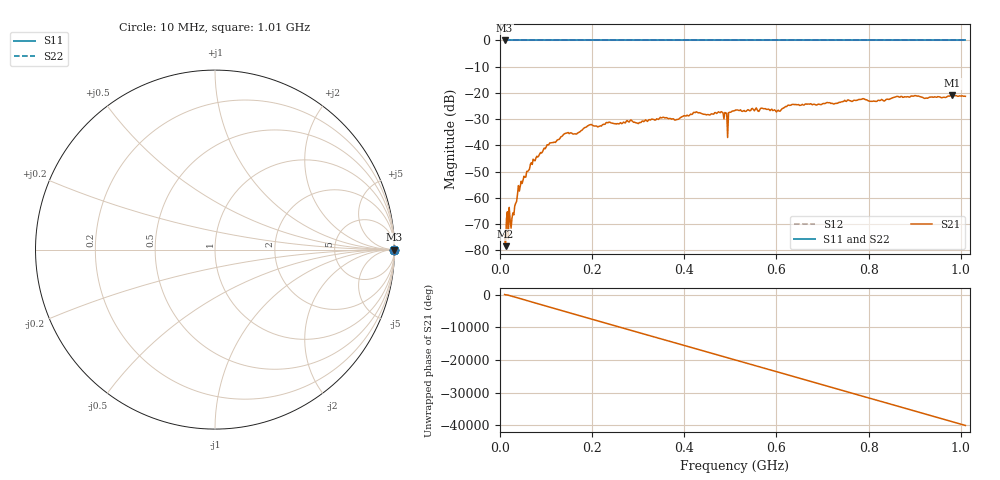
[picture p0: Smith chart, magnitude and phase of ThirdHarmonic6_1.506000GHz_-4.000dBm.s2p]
! 8/16/2025 5:42:38 PM
! C:\ANRITSUVNA\TEMP\TEMP.S2P
! CHANNEL.1
! TR.MEASUREMENT
! RAW.DATA
! RF.CORRECTION.OFF
! AVERAGING.OFF
! IF.BANDWIDTH: 5KHZ
! SWEEPTYPE:  FREQ.SWEEP(Linear)
! Reference Plane Port Info
! PORT:  PORT1  PORT2
! DISTANCE:  0  m  0  m
! TIME:  0  s  0  s
! PHASE.OFFSET:  0  deg.  0  deg.
! LOSS:  0  dB  0  dB
! REF.LOSS:  0  dB  0  dB
! REF.FREQ:  0  Hz  0  Hz
! Power Info
! POWER:  -20  dBm  -20  dBm
! EFF.POWER:  -20  dBm  -20  dBm
! SOURCE.ATTEN:  0  dB  0  dB
! TEST.ATTEN:  0  dB  0  dB
# GHZ S RI R 50.0
! FREQ.GHZ  S11RE  S11IM  S21RE  S21IM  S12RE  S12IM  S22RE  S22IM
!; PortSelection: Port_12
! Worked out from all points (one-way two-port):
!   501 points, 10 MHz to 1.01 GHz, reference 50 ohm
!   highest |S21| = -20.86 dB at 982 MHz (marker M1); lowest = -78.5 dB at 12 MHz (marker M2)
!   lowest |S11| = 0.0 dB at 10 MHz (marker M3)
!   |S11| at or under -10 dB: nowhere
!   |S22| runs from 0.0 to 0.0 dB; largest |S21 - S12| = 1.1
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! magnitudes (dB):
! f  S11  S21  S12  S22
! 10 MHz  0.0  -74.1  0.0  0.0
! 12 MHz  0.0  -78.5  0.0  0.0
! 14 MHz  0.0  -68.2  0.0  0.0
! 18 MHz  0.0  -75.7  0.0  0.0
! 22 MHz  0.0  -68.4  0.0  0.0
! 28 MHz  0.0  -65.8  0.0  0.0
! 42 MHz  0.0  -57.5  0.0  0.0
! 70 MHz  0.0  -47.3  0.0  0.0
! 106 MHz  0.0  -39.8  0.0  0.0
! 178 MHz  0.0  -34.2  0.0  0.0
! 196 MHz  0.0  -32.1  0.0  0.0
! 344 MHz  0.0  -30.1  0.0  0.0
! 478 MHz  0.0  -27.5  0.0  0.0
! 488 MHz  0.0  -27.5  0.0  0.0
! 490 MHz  0.0  -27.7  0.0  0.0
! 510 MHz  0.0  -26.7  0.0  0.0
! 604 MHz  0.0  -26.6  0.0  0.0
! 630 MHz  0.0  -24.7  0.0  0.0
! 678 MHz  0.0  -24.5  0.0  0.0
! 844 MHz  0.0  -22.5  0.0  0.0
! 982 MHz  0.0  -20.9  0.0  0.0
! 1.01 GHz  0.0  -21.3  0.0  0.0
